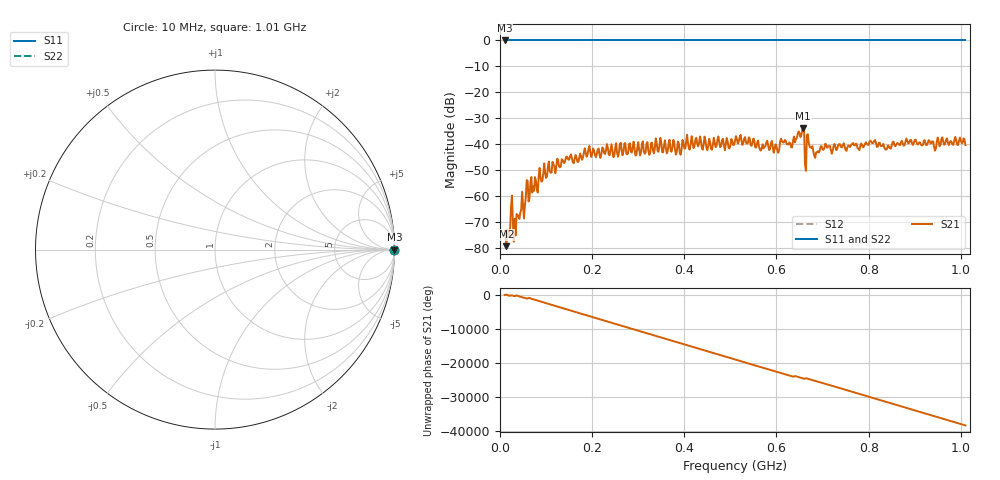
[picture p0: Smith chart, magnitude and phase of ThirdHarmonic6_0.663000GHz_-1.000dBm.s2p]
! 8/15/2025 10:03:09 PM
! C:\ANRITSUVNA\TEMP\TEMP.S2P
! CHANNEL.1
! TR.MEASUREMENT
! RAW.DATA
! RF.CORRECTION.OFF
! AVERAGING.OFF
! IF.BANDWIDTH: 5KHZ
! SWEEPTYPE:  FREQ.SWEEP(Linear)
! Reference Plane Port Info
! PORT:  PORT1  PORT2
! DISTANCE:  0  m  0  m
! TIME:  0  s  0  s
! PHASE.OFFSET:  0  deg.  0  deg.
! LOSS:  0  dB  0  dB
! REF.LOSS:  0  dB  0  dB
! REF.FREQ:  0  Hz  0  Hz
! Power Info
! POWER:  -20  dBm  -20  dBm
! EFF.POWER:  -20  dBm  -20  dBm
! SOURCE.ATTEN:  0  dB  0  dB
! TEST.ATTEN:  0  dB  0  dB
# GHZ S RI R 50.0
! FREQ.GHZ  S11RE  S11IM  S21RE  S21IM  S12RE  S12IM  S22RE  S22IM
!; PortSelection: Port_12
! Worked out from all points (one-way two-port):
!   501 points, 10 MHz to 1.01 GHz, reference 50 ohm
!   highest |S21| = -33.83 dB at 658 MHz (marker M1); lowest = -79.4 dB at 14 MHz (marker M2)
!   lowest |S11| = 0.0 dB at 10 MHz (marker M3)
!   |S11| at or under -10 dB: nowhere
!   |S22| runs from 0.0 to 0.0 dB; largest |S21 - S12| = 1
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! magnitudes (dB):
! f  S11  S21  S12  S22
! 10 MHz  0.0  -73.5  0.0  0.0
! 14 MHz  0.0  -79.4  0.0  0.0
! 18 MHz  0.0  -75.6  0.0  0.0
! 24 MHz  0.0  -64.1  0.0  0.0
! 32 MHz  0.0  -68.9  0.0  0.0
! 62 MHz  0.0  -62.2  0.0  0.0
! 110 MHz  0.0  -51.1  0.0  0.0
! 178 MHz  0.0  -46.1  0.0  0.0
! 344 MHz  0.0  -43.0  0.0  0.0
! 510 MHz  0.0  -38.8  0.0  0.0
! 602 MHz  0.0  -42.6  0.0  0.0
! 614 MHz  0.0  -39.4  0.0  0.0
! 630 MHz  0.0  -39.7  0.0  0.0
! 654 MHz  0.0  -36.5  0.0  0.0
! 658 MHz  0.0  -33.8  0.0  0.0
! 666 MHz  0.0  -36.5  0.0  0.0
! 670 MHz  0.0  -39.5  0.0  0.0
! 678 MHz  0.0  -40.8  0.0  0.0
! 810 MHz  0.0  -39.6  0.0  0.0
! 844 MHz  0.0  -40.9  0.0  0.0
! 886 MHz  0.0  -39.8  0.0  0.0
! 1.01 GHz  0.0  -40.4  0.0  0.0
